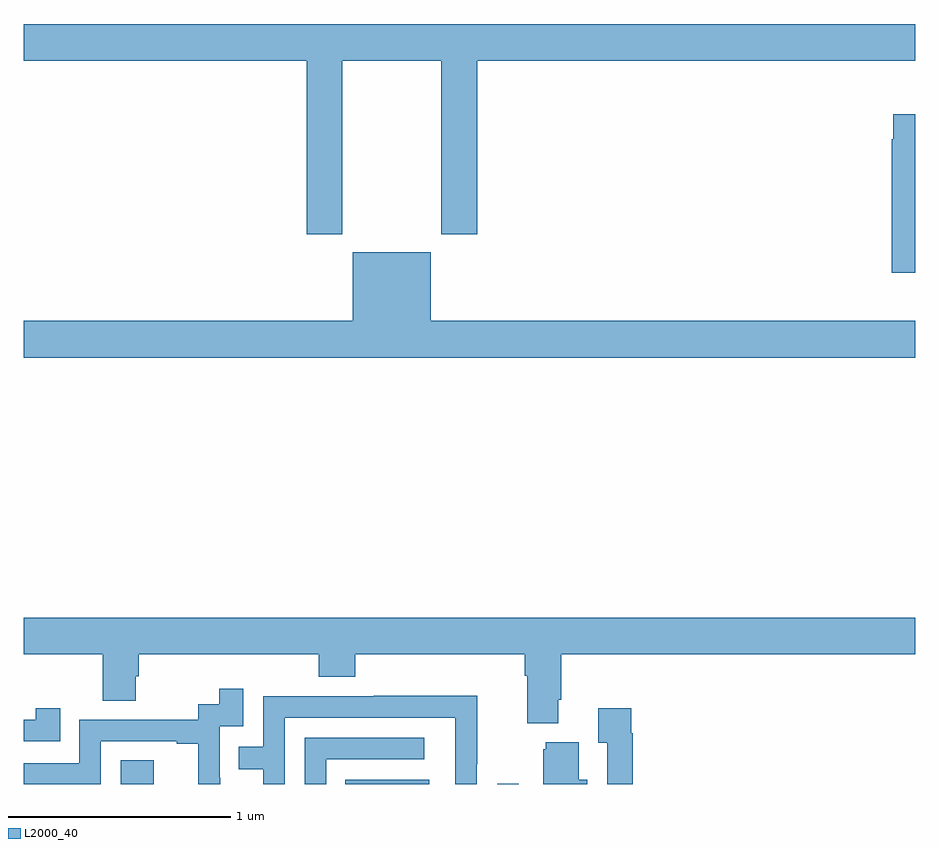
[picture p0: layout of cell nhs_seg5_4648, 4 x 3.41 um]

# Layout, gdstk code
import gdstk
lib = gdstk.Library(unit=1e-6, precision=1e-09)
def R(c, l, rs):  # rectangles x0, y0, x1, y1
    for r in rs: c.add(gdstk.rectangle(r[:2], r[2:], *l))
def P(c, l, *ps):  # polygons
    for p in ps: c.add(gdstk.Polygon(p, *l))
L2000_40 = (2000, 40)

nhs_seg5_4648 = lib.new_cell('nhs_seg5_4648')
R(nhs_seg5_4648, L2000_40, [(383.436,902.799,383.584,902.905), (384.442,902.799,384.82,902.818), (385.125,902.799,385.221,902.8)])
P(nhs_seg5_4648, L2000_40, [(384.429,906.044),(384.874,906.044),(384.874,905.265),(385.034,905.265),(385.034,906.044),(387,906.044),(387,906.208),(383,906.208),(383,906.044),(384.269,906.044),(384.269,905.265),(384.429,905.265)],
  [(387,905.803),(386.901,905.803),(386.901,905.69),(386.893,905.69),(386.893,905.093),(387,905.093)],
  [(387,904.876),(384.826,904.876),(384.826,905.185),(384.476,905.185),(384.476,904.876),(383,904.876),(383,904.712),(387,904.712)],
  [(385.399,903.178),(385.412,903.178),(385.412,903.38),(387,903.38),(387,903.544),(383,903.544),(383,903.38),(383.356,903.38),(383.356,903.172),(383.503,903.172),(383.503,903.282),(383.516,903.282),(383.516,903.38),(384.323,903.38),(384.323,903.281),(384.488,903.281),(384.488,903.38),(385.247,903.38),(385.247,903.284),(385.259,903.284),(385.259,903.071),(385.399,903.071)],
  [(383.346,902.991),(383.687,902.991),(383.687,902.979),(383.783,902.979),(383.783,902.799),(383.882,902.799),(383.882,902.828),(383.88,902.828),(383.88,903.057),(383.985,903.057),(383.985,903.226),(383.877,903.226),(383.877,903.156),(383.784,903.156),(383.784,903.087),(383.25,903.087),(383.25,902.892),(383,902.892),(383,902.799),(383.346,902.799)],
  [(384.171,903.096),(384.936,903.096),(384.936,902.799),(385.032,902.799),(385.032,902.887),(385.035,902.887),(385.035,903.194),(384.571,903.194),(384.571,903.192),(384.075,903.192),(384.075,902.967),(383.965,902.967),(383.965,902.866),(384.075,902.866),(384.075,902.799),(384.171,902.799)],
  [(383.165,903.139),(383.054,903.139),(383.054,903.087),(383,903.087),(383,902.991),(383.165,902.991)],
  [(385.733,903.026),(385.726,903.026),(385.726,903.139),(385.577,903.139),(385.577,902.983),(385.617,902.983),(385.617,902.799),(385.733,902.799)],
  [(384.357,902.91),(384.796,902.91),(384.796,903.006),(384.261,903.006),(384.261,902.799),(384.357,902.799)],
  [(385.528,902.818),(385.489,902.818),(385.489,902.986),(385.343,902.986),(385.343,902.955),(385.331,902.955),(385.331,902.799),(385.528,902.799)])

lib.write_gds('nhs_seg5_4648.gds')
